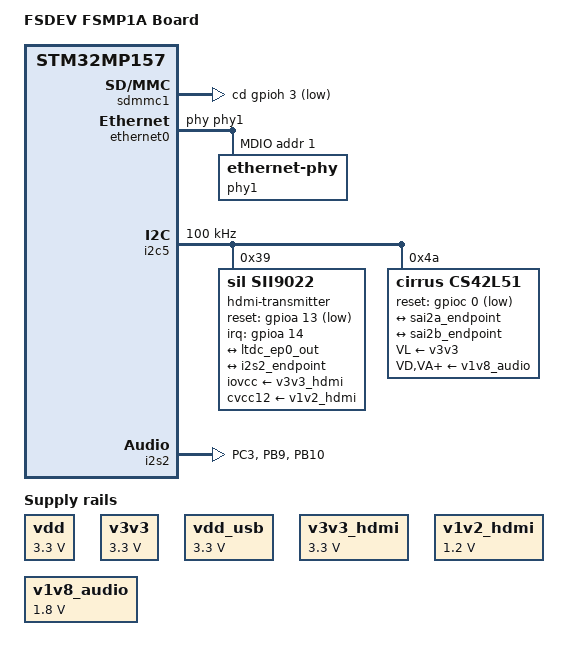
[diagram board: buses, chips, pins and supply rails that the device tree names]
// SPDX-License-Identifier: (GPL-2.0+ OR BSD-3-Clause)
/*
 * Copyright (C) STMicroelectronics 2019 - All Rights Reserved
 * Author: Alexandre Torgue <alexandre.torgue@st.com> for STMicroelectronics.
 */

/dts-v1/;

#include "stm32mp157.dtsi"
#include "stm32mp15-pinctrl.dtsi"
#include "stm32mp15xxaa-pinctrl.dtsi"
#include "stm32mp15xx-dkx.dtsi"

/ {
	model = "FSDEV FSMP1A Board";
	compatible = "fsdev,fsmp1a", "st,stm32mp157";

	aliases {
		ethernet0 = &ethernet0;
	};

	chosen {
		stdout-path = "serial0:115200n8";
	};

	/*
	 * Board is discrete power supplied: no STPMIC1 on I2C4. Replace the
	 * PMIC rails still referenced by stm32mp15xx-dkx.dtsi by fixed
	 * regulators carrying the same labels.
	 */
	vdd: regulator-vdd {
		compatible = "regulator-fixed";
		regulator-name = "vdd";
		regulator-min-microvolt = <3300000>;
		regulator-max-microvolt = <3300000>;
		regulator-always-on;
		regulator-boot-on;
	};

	v3v3: regulator-v3v3 {
		compatible = "regulator-fixed";
		regulator-name = "v3v3";
		regulator-min-microvolt = <3300000>;
		regulator-max-microvolt = <3300000>;
		regulator-always-on;
		regulator-boot-on;
	};

	vdd_usb: regulator-vdd-usb {
		compatible = "regulator-fixed";
		regulator-name = "vdd_usb";
		regulator-min-microvolt = <3300000>;
		regulator-max-microvolt = <3300000>;
		regulator-always-on;
		regulator-boot-on;
	};

	v3v3_hdmi: regulator-v3v3-hdmi {
		compatible = "regulator-fixed";
		regulator-name = "v3v3_hdmi";
		regulator-min-microvolt = <3300000>;
		regulator-max-microvolt = <3300000>;
		regulator-always-on;
		regulator-boot-on;
	};

	v1v2_hdmi: regulator-v1v2-hdmi {
		compatible = "regulator-fixed";
		regulator-name = "v1v2_hdmi";
		regulator-min-microvolt = <1200000>;
		regulator-max-microvolt = <1200000>;
		regulator-always-on;
		regulator-boot-on;
	};

	v1v8_audio: regulator-v1v8-audio {
		compatible = "regulator-fixed";
		regulator-name = "v1v8_audio";
		regulator-min-microvolt = <1800000>;
		regulator-max-microvolt = <1800000>;
		regulator-always-on;
		regulator-boot-on;
	};

	led {
		/delete-node/ led-blue;
		/delete-node/ led-red;

		led-0 {
			function = LED_FUNCTION_HEARTBEAT;
			color = <LED_COLOR_ID_GREEN>;
			gpios = <&gpioz 5 GPIO_ACTIVE_HIGH>;
			linux,default-trigger = "heartbeat";
			default-state = "off";
		};

		led-1 {
			function = LED_FUNCTION_SPEED_LAN;
			color = <LED_COLOR_ID_GREEN>;
			gpios = <&gpioz 6 GPIO_ACTIVE_HIGH>;
			default-state = "on";
		};

		led-2 {
			function = LED_FUNCTION_CPU;
			color = <LED_COLOR_ID_GREEN>;
			gpios = <&gpioz 7 GPIO_ACTIVE_HIGH>;
			default-state = "on";
		};
	};

	options {
		/delete-node/ u-boot;
	};
};

/delete-node/ &i2c4;
/delete-node/ &usbotg_hs;

&adc {
	status = "disabled";
};

&sdmmc1 {
	cd-gpios = <&gpioh 3 (GPIO_ACTIVE_LOW | GPIO_PULL_UP)>;
};

&ethernet0 {
	phy-handle = <&phy1>;

	mdio {
		/delete-node/ ethernet-phy@0;

		phy1: ethernet-phy@1 {
			reg = <1>;
		};
	};
};

/delete-node/ &i2c1;

&i2c5 {
	i2c-scl-rising-time-ns = <500>;
	i2c-scl-falling-time-ns = <20>;
	clock-frequency = <100000>;
	status = "okay";

	hdmi-transmitter@39 {
		compatible = "sil,sii9022";
		reg = <0x39>;
		iovcc-supply = <&v3v3_hdmi>;
		cvcc12-supply = <&v1v2_hdmi>;
		reset-gpios = <&gpioa 13 GPIO_ACTIVE_LOW>;
		interrupts = <14 IRQ_TYPE_EDGE_FALLING>;
		interrupt-parent = <&gpioa>;
		#sound-dai-cells = <0>;
		status = "okay";

		ports {
			#address-cells = <1>;
			#size-cells = <0>;

			port@0 {
				reg = <0>;

				sii9022_in: endpoint {
					remote-endpoint = <&ltdc_ep0_out>;
				};
			};

			port@3 {
				reg = <3>;

				sii9022_tx_endpoint: endpoint {
					remote-endpoint = <&i2s2_endpoint>;
				};
			};
		};
	};

	cs42l51: cs42l51@4a {
		compatible = "cirrus,cs42l51";
		reg = <0x4a>;
		#sound-dai-cells = <0>;
		VL-supply = <&v3v3>;
		VD-supply = <&v1v8_audio>;
		VA-supply = <&v1v8_audio>;
		VAHP-supply = <&v1v8_audio>;
		reset-gpios = <&gpioc 0 GPIO_ACTIVE_LOW>;
		clocks = <&sai2a>;
		clock-names = "MCLK";
		status = "okay";

		cs42l51_port: port {
			#address-cells = <1>;
			#size-cells = <0>;

			cs42l51_tx_endpoint: endpoint@0 {
				reg = <0>;
				remote-endpoint = <&sai2a_endpoint>;
				frame-master = <&cs42l51_tx_endpoint>;
				bitclock-master = <&cs42l51_tx_endpoint>;
			};

			cs42l51_rx_endpoint: endpoint@1 {
				reg = <1>;
				remote-endpoint = <&sai2b_endpoint>;
				frame-master = <&cs42l51_rx_endpoint>;
				bitclock-master = <&cs42l51_rx_endpoint>;
			};
		};
	};
};

&ltdc {
	pinctrl-names = "default", "sleep";
	pinctrl-0 = <&ltdc_pins_b>;
	pinctrl-1 = <&ltdc_sleep_pins_b>;
};

&i2s2 {
	pinctrl-names = "default", "sleep";
	pinctrl-0 = <&i2s2_pins_c>;
	pinctrl-1 = <&i2s2_sleep_pins_c>;
};

&pinctrl {
	/omit-if-no-ref/
	i2s2_pins_c: i2s2-2 {
		pins {
			pinmux = <STM32_PINMUX('C',  3, AF5)>, /* I2S2_SDO */
				 <STM32_PINMUX('B', 9, AF5)>, /* I2S2_WS */
				 <STM32_PINMUX('B', 10, AF5)>; /* I2S2_CK */
			bias-disable;
			drive-push-pull;
			slew-rate = <1>;
		};
	};

	/omit-if-no-ref/
	i2s2_sleep_pins_c: i2s2-sleep-2 {
		pins {
			pinmux = <STM32_PINMUX('C', 3, ANALOG)>, /* I2S2_SDO */
				 <STM32_PINMUX('B', 9, ANALOG)>, /* I2S2_WS */
				 <STM32_PINMUX('B', 10, ANALOG)>; /* I2S2_CK */
		};
	};
};
